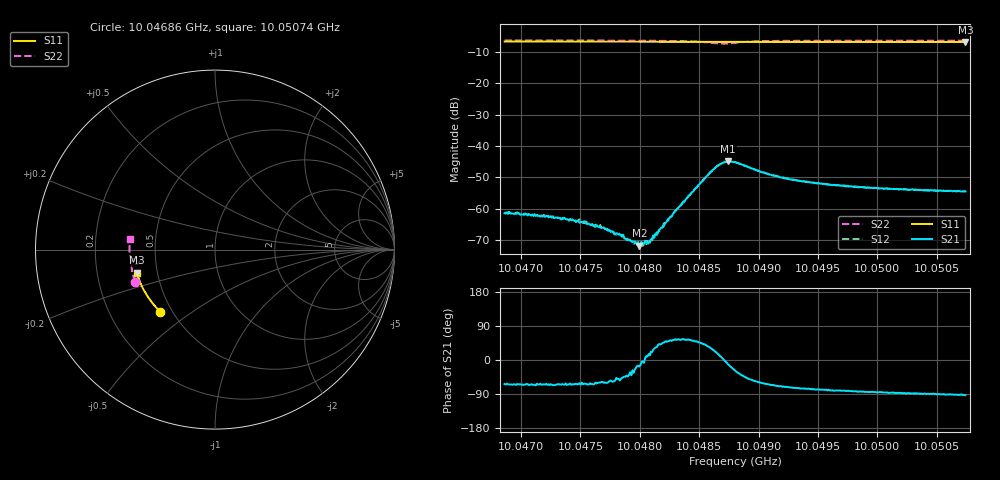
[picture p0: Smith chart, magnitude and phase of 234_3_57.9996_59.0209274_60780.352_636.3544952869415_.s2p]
#  HZ  S  RI  R  50.00
! Rohde & Schwarz Vector Network Analyzer
! Rohde-Schwarz,ZNB20-2Port,1311601062101988,3.16
! Created: UTC 3/21/2024, 1:00:48 AM
! freq[Hz]  re:S11  im:S11  re:S21  im:S21  re:S12  im:S12  re:S22  im:S22
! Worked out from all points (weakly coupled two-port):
!   401 points, 10.04686 GHz to 10.05074 GHz, reference 50 ohm
!   highest |S21| = -44.94 dB at 10.04874 GHz (marker M1); lowest = -71.8 dB at 10.048 GHz (marker M2)
!   lowest |S11| = -6.9 dB at 10.05074 GHz (marker M3), VSWR 2.66, Z = 19.1 - j6.2 ohm
!   |S11| at or under -10 dB: nowhere
!   |S22| runs from -7.4 to -6.4 dB; largest |S21 - S12| = 0.0004
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1.0046861e10  -0.3052 -0.3451  0.000377 -0.000755  0.000444 -0.000745  -0.4447 -0.1795
1.0047269e10  -0.3244 -0.3262  0.000291 -0.000664  0.000376 -0.000661  -0.4537 -0.153
1.0047511e10  -0.335 -0.3142  0.000308 -0.000528  0.000301 -0.000519  -0.4581 -0.1364
1.0047734e10  -0.3446 -0.303  0.000232 -0.000378  0.00029 -0.00036  -0.4617 -0.1206
1.0047783e10  -0.3468 -0.3004  0.000222 -0.000328  0.000276 -0.000317  -0.4623 -0.1171
1.0047841e10  -0.3491 -0.2973  0.000244 -0.000284  0.000257 -0.000276  -0.4631 -0.1127
1.004789e10  -0.3511 -0.2948  0.000239 -0.000208  0.000252 -0.000198  -0.4636 -0.1091
1.0047996e10  -0.3555 -0.2892  0.000245 -7.58e-05  0.000272 -5.95e-05  -0.4645 -0.1008
1.0048035e10  -0.357 -0.2871  0.000274 -3.62e-05  0.000268 3.23e-06  -0.465 -0.0976
1.0048074e10  -0.3585 -0.2851  0.000266 7.47e-05  0.00026 6.85e-05  -0.4651 -0.0943
1.0048093e10  -0.3592 -0.2841  0.0003 0.000121  0.000293 0.000115  -0.4651 -0.0929
1.0048161e10  -0.362 -0.2806  0.000342 0.000309  0.000324 0.000291  -0.4653 -0.087
1.0048316e10  -0.3678 -0.2722  0.000584 0.00082  0.000531 0.000848  -0.464 -0.0722
1.0048588e10  -0.3777 -0.2571  0.00307 0.00204  0.00301 0.00221  -0.4401 -0.0465
1.0048666e10  -0.3802 -0.2528  0.0048 0.00117  0.00476 0.00144  -0.4251 -0.0524
1.0048743e10  -0.3826 -0.2488  0.00555 -0.00112  0.00562 -0.000765  -0.4219 -0.0701
1.0048802e10  -0.3848 -0.2455  0.00486 -0.00257  0.00502 -0.00227  -0.4311 -0.0797
1.0049102e10  -0.395 -0.2286  0.00143 -0.00318  0.00163 -0.00312  -0.4665 -0.0609
1.0049452e10  -0.4055 -0.2081  0.000573 -0.00254  0.000734 -0.00252  -0.4743 -0.0306
1.0049782e10  -0.4144 -0.1882  0.000303 -0.00224  0.000437 -0.00224  -0.4762 -0.00589
1.0050102e10  -0.4223 -0.1688  0.000117 -0.00208  0.000236 -0.00206  -0.4761 0.0168
1.0050742e10  -0.4351 -0.1286  -9.71e-05 -0.00188  3.63e-05 -0.00189  -0.4723 0.0603
